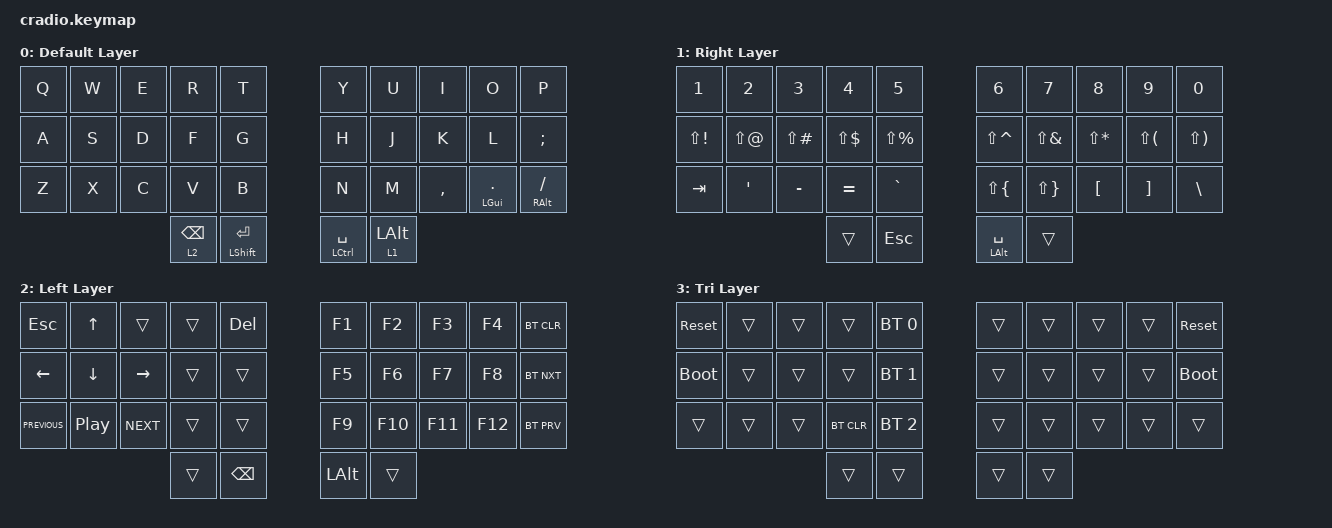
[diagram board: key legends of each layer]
// Copyright (c) 2022 The ZMK Contributors
// SPDX-License-Identifier: MIT

#include <behaviors.dtsi>
#include <dt-bindings/zmk/bt.h>
#include <dt-bindings/zmk/keys.h>

/ {
    behaviors {
        ht: hold_tap {
            compatible = "zmk,behavior-hold-tap";
            #binding-cells = <2>;
            flavor = "tap-preferred";
            tapping-term-ms = <220>;
            quick-tap-ms = <150>;
            require-prior-idle-ms = <100>;
            bindings = <&kp>, <&kp>;
        };
    };

    conditional_layers {
        compatible = "zmk,conditional-layers";

        tri_layer {
            if-layers = <1 2>;
            then-layer = <3>;
        };
    };

    combos {
        compatible = "zmk,combos";

        minus {
            bindings = <&kp MINUS>;
            key-positions = <10 11>;
        };

        plus {
            bindings = <&kp PLUS>;
            key-positions = <19 18>;
        };

        underscore {
            bindings = <&kp UNDERSCORE>;
            key-positions = <11 12>;
        };

        equals {
            bindings = <&kp EQUAL>;
            key-positions = <18 17>;
        };

        esc {
            bindings = <&kp ESCAPE>;
            key-positions = <13 12>;
        };

        tab {
            bindings = <&kp TAB>;
            key-positions = <16 17>;
        };
    };

    keymap {
        compatible = "zmk,keymap";

        default_layer {
            display-name = "Default Layer";
            bindings = <
&kp Q  &kp W  &kp E  &kp R            &kp T               &kp Y            &kp U           &kp I      &kp O                &kp P
&kp A  &kp S  &kp D  &kp F            &kp G               &kp H            &kp J           &kp K      &kp L                &kp SEMI
&kp Z  &kp X  &kp C  &kp V            &kp B               &kp N            &kp M           &kp COMMA  &mt LEFT_GUI PERIOD  &mt RIGHT_ALT SLASH
                     &lt 2 BACKSPACE  &mt LSHIFT ENTER    &mt LCTRL SPACE  &lt 1 LEFT_ALT
            >;
        };

        right_layer {
            display-name = "Right Layer";
            bindings = <
&kp N1        &kp N2      &kp N3         &kp N4        &kp N5           &kp N6              &kp N7        &kp N8        &kp N9        &kp N0
&kp LS(EXCL)  &kp LS(AT)  &kp LS(POUND)  &kp LS(DLLR)  &kp LS(PRCNT)    &kp LS(CARET)       &kp LS(AMPS)  &kp LS(STAR)  &kp LS(LPAR)  &kp LS(RPAR)
&kp TAB       &kp SQT     &kp MINUS      &kp EQUAL     &kp GRAVE        &kp LS(LBRC)        &kp LS(RBRC)  &kp LBKT      &kp RBKT      &kp BSLH
                                         &trans        &kp ESC          &mt LEFT_ALT SPACE  &trans
            >;
        };

        left_layer {
            display-name = "Left Layer";
            bindings = <
&kp ESC         &kp UP            &trans      &trans  &kp DELETE    &kp F1    &kp F2   &kp F3   &kp F4   &bt BT_CLR
&kp LEFT        &kp DOWN          &kp RIGHT   &trans  &trans        &kp F5    &kp F6   &kp F7   &kp F8   &bt BT_NXT
&kp C_PREVIOUS  &kp C_PLAY_PAUSE  &kp C_NEXT  &trans  &trans        &kp F9    &kp F10  &kp F11  &kp F12  &bt BT_PRV
                                              &trans  &kp BSPC      &kp LALT  &trans
            >;
        };

        tri_layer {
            display-name = "Tri Layer";
            bindings = <
&sys_reset   &trans  &trans  &trans      &bt BT_SEL 0    &trans  &trans  &trans  &trans  &sys_reset
&bootloader  &trans  &trans  &trans      &bt BT_SEL 1    &trans  &trans  &trans  &trans  &bootloader
&trans       &trans  &trans  &bt BT_CLR  &bt BT_SEL 2    &trans  &trans  &trans  &trans  &trans
                             &trans      &trans          &trans  &trans
            >;
        };
    };
};
